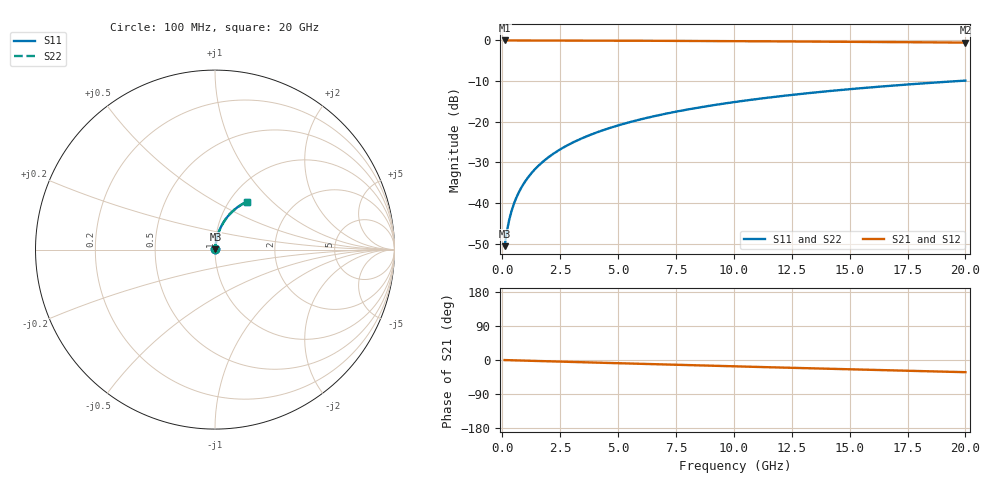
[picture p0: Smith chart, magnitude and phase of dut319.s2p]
! Touchstone file exported from HFSS 2026.1.0
!  File:  C:/ffzhzh/LocalFiles/Ansys_Project_Files/temp_train_TMRDL_319_1783003409_51716.aedt
!  Generated:  10:44:57 PM Jul  2, 2026
!  Design:  TMRDL
!  Project:  temp_train_TMRDL_319_1783003409_51716
! Variables:
!  h_bsmrdl = 2um
!  h_ox = 20um
!  h_rdl = 5um
!  h_sub = 80um
!  h_tmrdl = 3.75um
!  h_tsv = 80um
!  h_via = 3um
!  l_bsmrdl = 300um
!  l_sub = 836.92um
!  l_tmrdl = 436.92um
!  m_sub = 200um
!  pitch = 49.03um
!  r_tsv = 6um
!  s_tmrdl = 10um
!  w_bsmrdl = 18um
!  w_sub = 500um
!  w_tmrdl = 20.59um
!  x_tsv_center1 = 447.215um
!  x_tsv_center2 = 765.215um
!  x_tsv_center3 = 1222.725um
!  x_tsv_center4 = 1540.725um
!  x_tsv_center5 = 1998.235um
!  x_tsv_center6 = 2316.235um
# GHz S MA R 50.000000
! Terminal data exported
! Port[1] = TM_RDL1_1_T1
! Port[2] = TM_RDL1_1_T2
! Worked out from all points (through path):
!   200 points, 100 MHz to 20 GHz, reference 50 ohm
!   highest |S21| = -0.02 dB at 100 MHz (marker M1); lowest = -0.5 dB at 20 GHz (marker M2)
!   group delay of S21, straight-line fit = 4.46 ps
!   lowest |S11| = -50.6 dB at 100 MHz (marker M3), VSWR 1.01, Z = 50.2 + j0.198 ohm
!   |S11| at or under -10 dB: start of sweep to 19.69 GHz
!   |S22| runs from -50.6 to -9.9 dB; largest |S21 - S12| = 4.2e-15
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0.1  0.002947 41.9  0.9978 -0.2  0.9978 -0.2  0.002947 41.9
! Gamma 0 0 0 0
! Port Impedance 50 0 50 0
0.2  0.004517 59.3  0.9977 -0.4  0.9977 -0.4  0.004517 59.3
0.3  0.006241 67.0  0.9976 -0.5  0.9976 -0.5  0.006241 67.0
0.4  0.007992 71.3  0.9975 -0.7  0.9975 -0.7  0.007992 71.3
0.5  0.009752 74.0  0.9974 -0.9  0.9974 -0.9  0.009752 74.0
0.6  0.01152 75.9  0.9973 -1.0  0.9973 -1.0  0.01152 75.9
0.8  0.01507 78.4  0.9972 -1.4  0.9972 -1.4  0.01507 78.4
1.1  0.02045 80.3  0.997 -1.9  0.997 -1.9  0.02045 80.3
1.5  0.02765 81.5  0.9968 -2.6  0.9968 -2.6  0.02765 81.5
1.8  0.03305 81.8  0.9965 -3.1  0.9965 -3.1  0.03306 81.8
2.1  0.03846 81.9  0.9962 -3.6  0.9962 -3.6  0.03846 81.9
2.7  0.04925 81.6  0.9956 -4.6  0.9956 -4.6  0.04925 81.6
3.5  0.06355 80.8  0.9944 -6.0  0.9944 -6.0  0.06355 80.8
4.2  0.07596 80.0  0.9933 -7.1  0.9933 -7.1  0.07596 80.0
5  0.08999 78.8  0.9917 -8.5  0.9917 -8.5  0.08999 78.8
5.9  0.1056 77.5  0.9898 -10.0  0.9898 -10.0  0.1056 77.5
6.8  0.121 76.2  0.9876 -11.5  0.9876 -11.5  0.121 76.1
8.3  0.1462 73.9  0.9836 -13.9  0.9836 -13.9  0.1462 73.8
10.1  0.1756 71.1  0.9781 -16.8  0.9781 -16.8  0.1756 71.1
13.4  0.2273 66.1  0.9665 -22.1  0.9665 -22.1  0.2273 66.1
16.7  0.2756 61.2  0.9532 -27.2  0.9532 -27.2  0.2756 61.1
20  0.3203 56.4  0.9387 -32.1  0.9387 -32.1  0.3203 56.3
